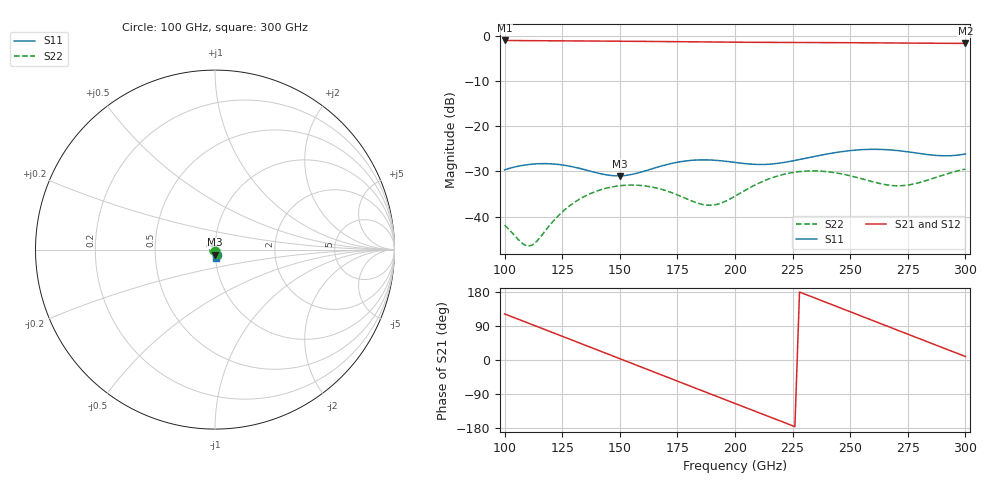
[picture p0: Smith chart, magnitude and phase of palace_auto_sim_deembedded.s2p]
! Created with skrf 1.11.0 (http://scikit-rf.org).
# GHz S DB R 50.0
!freq dBS11 angS11 dBS21 angS21 dBS12 angS12 dBS22 angS22
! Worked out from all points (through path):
!   101 points, 100 GHz to 300 GHz, reference 50 ohm
!   highest |S21| = -1.05 dB at 100 GHz (marker M1); lowest = -1.7 dB at 300 GHz (marker M2)
!   group delay of S21, straight-line fit = 6.56 ps
!   lowest |S11| = -31.0 dB at 150 GHz (marker M3), VSWR 1.06, Z = 49.9 - j2.82 ohm
!   |S11| at or under -10 dB: start of sweep to end of sweep
!   |S22| runs from -46.5 to -29.5 dB; largest |S21 - S12| = 1e-13
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100  -29.65 -69.9  -1.05 121.6  -1.05 121.6  -41.88 -99.8
108  -28.65 -77.9  -1.08 102.7  -1.08 102.7  -46.04 -81.3
112  -28.39 -82.2  -1.10 93.3  -1.10 93.3  -46.29 -57.6
122  -28.39 -92.5  -1.13 69.7  -1.13 69.7  -40.49 -33.9
134  -29.51 -99.8  -1.16 41.4  -1.16 41.4  -35.70 -49.8
142  -30.54 -98.1  -1.19 22.4  -1.19 22.4  -34.01 -67.4
150  -30.98 -90.8  -1.22 3.5  -1.22 3.5  -33.16 -88.0
158  -30.32 -83.3  -1.25 -15.5  -1.25 -15.5  -33.06 -111.1
168  -28.82 -81.2  -1.29 -39.1  -1.29 -39.1  -33.94 -144.8
184  -27.46 -89.2  -1.36 -77.0  -1.36 -77.0  -37.04 138.7
192  -27.56 -93.4  -1.40 -95.8  -1.40 -95.8  -37.31 85.0
200  -28.01 -94.9  -1.43 -114.7  -1.43 -114.7  -35.48 34.7
218  -28.25 -86.6  -1.48 -157.0  -1.48 -157.0  -31.08 -47.8
226  -27.57 -83.3  -1.50 -175.9  -1.50 -175.9  -30.17 -79.0
234  -26.74 -82.6  -1.51 165.2  -1.51 165.2  -29.89 -109.7
242  -25.97 -84.0  -1.53 146.3  -1.53 146.3  -30.18 -141.1
252  -25.30 -88.1  -1.55 122.6  -1.55 122.6  -31.21 176.3
260  -25.11 -92.1  -1.58 103.7  -1.58 103.7  -32.32 137.5
268  -25.27 -95.7  -1.60 84.8  -1.60 84.8  -33.11 93.1
282  -26.17 -96.6  -1.65 51.7  -1.65 51.7  -32.18 12.7
292  -26.54 -91.0  -1.68 28.1  -1.68 28.1  -30.55 -36.2
300  -26.15 -85.2  -1.71 9.2  -1.71 9.2  -29.48 -70.9
